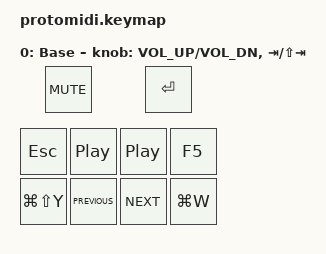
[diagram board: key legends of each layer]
#include <behaviors.dtsi>
#include <dt-bindings/zmk/keys.h>

/ {
    keymap {
        compatible = "zmk,keymap";

        default_layer {
            display-name = "Base";
            bindings = <
                &kp C_MUTE         &kp ENTER
                &kp ESC            &kp C_PLAY_PAUSE   &kp C_PLAY_PAUSE &kp F5
                &kp LG(LS(Y))       &kp C_PREVIOUS     &kp C_NEXT       &kp LG(W)
            >;

            sensor-bindings = <
                &inc_dec_kp C_VOL_UP C_VOL_DN
                &inc_dec_kp TAB LS(TAB)
            >;
        };
    };
};
